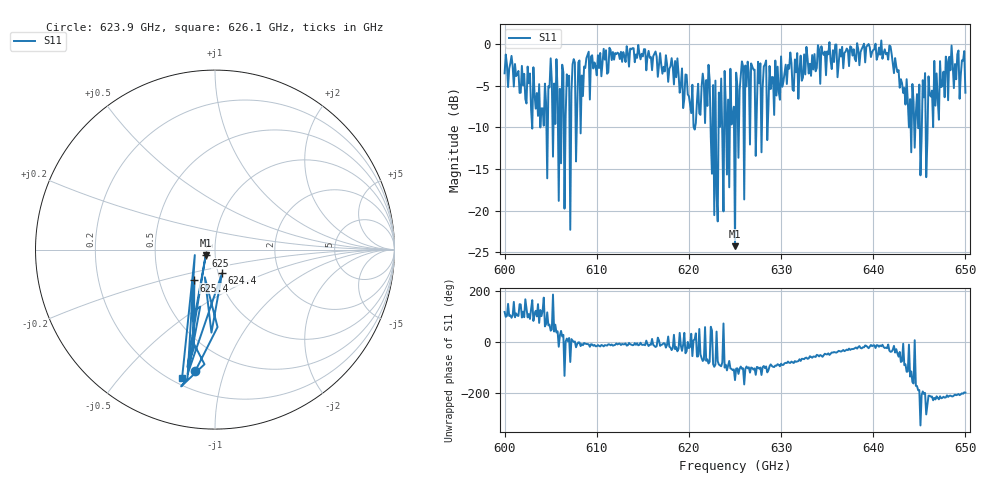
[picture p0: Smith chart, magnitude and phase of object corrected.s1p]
!Created with skrf (http://scikit-rf.org).
# GHz S MA R 50.0
!freq magS11 angS11
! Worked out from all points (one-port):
!   401 points, 600 GHz to 650 GHz, reference 50 ohm
!   lowest |S11| = -24.3 dB at 625 GHz (marker M1), VSWR 1.13, Z = 45 - j2.93 ohm
!   |S11| at or under -10 dB: 622.3525 GHz to 622.5656 GHz (213.1 MHz wide, 0.0342 % of centre); 622.9266 GHz to 623.2164 GHz (289.9 MHz wide, 0.0465 % of centre); 623.604 GHz to 623.8249 GHz (220.9 MHz wide, 0.0354 % of centre)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
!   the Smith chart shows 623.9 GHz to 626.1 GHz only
!   S11 on the Smith chart (normalised r, x): 623.9 GHz: 0.31, -0.80; 624.4 GHz: 1.04, -0.28; 625 GHz: 0.90, -0.06; 625.4 GHz: 0.75, -0.27; 626.1 GHz: 0.24, -0.75
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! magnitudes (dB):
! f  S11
! 600 GHz  -3.5
! 604.4 GHz  -4.8
! 605.1 GHz  -4.5
! 606.2 GHz  -2.5
! 607.5 GHz  -1.8
! 608 GHz  -2.2
! 608.9 GHz  -1.7
! 612.5 GHz  -1.8
! 618.8 GHz  -1.7
! 620.5 GHz  -9.9
! 622 GHz  -7.4
! 622.9 GHz  -4.4
! 623.8 GHz  -20.1
! 623.9 GHz  -3.3
! 624.4 GHz  -17.2
! 625 GHz  -24.3
! 625.2 GHz  -5.0
! 625.4 GHz  -13.7
! 626.1 GHz  -2.6
! 626.6 GHz  -12.1
! 628.8 GHz  -2.7
! 631.2 GHz  -5.5
! 637.5 GHz  -0.3
! 641.8 GHz  -0.2
! 643.8 GHz  -6.9
! 645 GHz  -4.9
! 648.2 GHz  -1.6
! 650 GHz  -5.9
